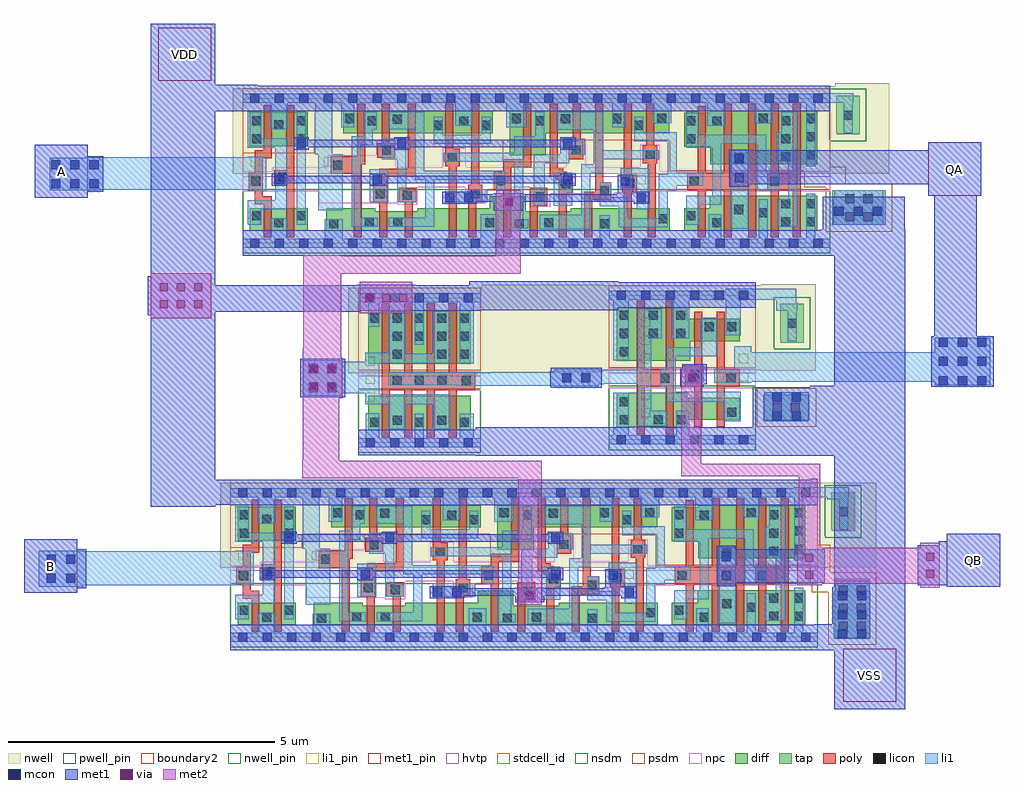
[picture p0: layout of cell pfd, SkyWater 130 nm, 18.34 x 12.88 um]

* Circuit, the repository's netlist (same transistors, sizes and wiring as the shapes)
* NGSPICE file created from pfd.ext - technology: sky130A

.subckt sky130_fd_sc_hd__dfrbp_2 CLK D RESET_B VGND VNB VPB VPWR Q Q_N
X0 a_1217_47# a_27_47# a_1108_47# VNB sky130_fd_pr__nfet_01v8 ad=0.0669 pd=0.75 as=0.0711 ps=0.755 w=0.36 l=0.15
X1 a_805_47# a_761_289# a_639_47# VNB sky130_fd_pr__nfet_01v8 ad=0.0441 pd=0.63 as=0.1401 ps=1.1 w=0.42 l=0.15
X2 a_1108_47# a_193_47# a_761_289# VNB sky130_fd_pr__nfet_01v8 ad=0.0711 pd=0.755 as=0.0999 ps=0.985 w=0.36 l=0.15
X3 a_1283_21# a_1108_47# a_1462_47# VNB sky130_fd_pr__nfet_01v8 ad=0.1092 pd=1.36 as=0.06405 ps=0.725 w=0.42 l=0.15
X4 Q_N a_1659_47# VGND VNB sky130_fd_pr__nfet_01v8 ad=0.08775 pd=0.92 as=0.08775 ps=0.92 w=0.65 l=0.15
X5 a_651_413# a_27_47# a_543_47# VPB sky130_fd_pr__pfet_01v8_hvt ad=0.1155 pd=0.97 as=0.07245 ps=0.765 w=0.42 l=0.15
X6 VGND RESET_B a_805_47# VNB sky130_fd_pr__nfet_01v8 ad=0.1346 pd=1.15 as=0.0441 ps=0.63 w=0.42 l=0.15
X7 VPWR a_1283_21# Q VPB sky130_fd_pr__pfet_01v8_hvt ad=0.135 pd=1.27 as=0.155 ps=1.31 w=1 l=0.15
X8 VPWR CLK a_27_47# VPB sky130_fd_pr__pfet_01v8_hvt ad=0.0864 pd=0.91 as=0.1664 ps=1.8 w=0.64 l=0.15
X9 a_448_47# D VPWR VPB sky130_fd_pr__pfet_01v8_hvt ad=0.0651 pd=0.73 as=0.1092 ps=1.36 w=0.42 l=0.15
X10 VPWR a_1283_21# a_1659_47# VPB sky130_fd_pr__pfet_01v8_hvt ad=0.1522 pd=1.335 as=0.1664 ps=1.8 w=0.64 l=0.15
X11 a_761_289# a_543_47# VGND VNB sky130_fd_pr__nfet_01v8 ad=0.0999 pd=0.985 as=0.1346 ps=1.15 w=0.64 l=0.15
X12 VGND a_1283_21# a_1659_47# VNB sky130_fd_pr__nfet_01v8 ad=0.10025 pd=0.985 as=0.1092 ps=1.36 w=0.42 l=0.15
X13 a_193_47# a_27_47# VGND VNB sky130_fd_pr__nfet_01v8 ad=0.1092 pd=1.36 as=0.0567 ps=0.69 w=0.42 l=0.15
X14 a_1108_47# a_27_47# a_761_289# VPB sky130_fd_pr__pfet_01v8_hvt ad=0.0588 pd=0.7 as=0.12915 ps=1.185 w=0.42 l=0.15
X15 VPWR a_1659_47# Q_N VPB sky130_fd_pr__pfet_01v8_hvt ad=0.31 pd=2.62 as=0.135 ps=1.27 w=1 l=0.15
X16 a_543_47# a_27_47# a_448_47# VNB sky130_fd_pr__nfet_01v8 ad=0.0594 pd=0.69 as=0.066 ps=0.745 w=0.36 l=0.15
X17 a_1462_47# RESET_B VGND VNB sky130_fd_pr__nfet_01v8 ad=0.06405 pd=0.725 as=0.12495 ps=1.015 w=0.42 l=0.15
X18 VGND a_1659_47# Q_N VNB sky130_fd_pr__nfet_01v8 ad=0.2015 pd=1.92 as=0.08775 ps=0.92 w=0.65 l=0.15
X19 a_543_47# a_193_47# a_448_47# VPB sky130_fd_pr__pfet_01v8_hvt ad=0.07245 pd=0.765 as=0.0651 ps=0.73 w=0.42 l=0.15
X20 a_448_47# D VGND VNB sky130_fd_pr__nfet_01v8 ad=0.066 pd=0.745 as=0.2205 ps=1.89 w=0.42 l=0.15
X21 VPWR a_1283_21# a_1270_413# VPB sky130_fd_pr__pfet_01v8_hvt ad=0.0819 pd=0.81 as=0.0567 ps=0.69 w=0.42 l=0.15
X22 VPWR a_1108_47# a_1283_21# VPB sky130_fd_pr__pfet_01v8_hvt ad=0.1197 pd=1.41 as=0.0567 ps=0.69 w=0.42 l=0.15
X23 a_1270_413# a_193_47# a_1108_47# VPB sky130_fd_pr__pfet_01v8_hvt ad=0.0567 pd=0.69 as=0.0588 ps=0.7 w=0.42 l=0.15
X24 a_193_47# a_27_47# VPWR VPB sky130_fd_pr__pfet_01v8_hvt ad=0.1664 pd=1.8 as=0.0864 ps=0.91 w=0.64 l=0.15
X25 a_1283_21# RESET_B VPWR VPB sky130_fd_pr__pfet_01v8_hvt ad=0.0567 pd=0.69 as=0.0819 ps=0.81 w=0.42 l=0.15
X26 Q a_1283_21# VGND VNB sky130_fd_pr__nfet_01v8 ad=0.10075 pd=0.96 as=0.10025 ps=0.985 w=0.65 l=0.15
X27 VPWR a_761_289# a_651_413# VPB sky130_fd_pr__pfet_01v8_hvt ad=0.07035 pd=0.755 as=0.1155 ps=0.97 w=0.42 l=0.15
X28 VGND a_1283_21# Q VNB sky130_fd_pr__nfet_01v8 ad=0.08775 pd=0.92 as=0.10075 ps=0.96 w=0.65 l=0.15
X29 Q_N a_1659_47# VPWR VPB sky130_fd_pr__pfet_01v8_hvt ad=0.135 pd=1.27 as=0.135 ps=1.27 w=1 l=0.15
X30 Q a_1283_21# VPWR VPB sky130_fd_pr__pfet_01v8_hvt ad=0.155 pd=1.31 as=0.1522 ps=1.335 w=1 l=0.15
X31 a_639_47# a_193_47# a_543_47# VNB sky130_fd_pr__nfet_01v8 ad=0.1401 pd=1.1 as=0.0594 ps=0.69 w=0.36 l=0.15
X32 VGND a_1283_21# a_1217_47# VNB sky130_fd_pr__nfet_01v8 ad=0.12495 pd=1.015 as=0.0669 ps=0.75 w=0.42 l=0.15
X33 a_651_413# RESET_B VPWR VPB sky130_fd_pr__pfet_01v8_hvt ad=0.1092 pd=1.36 as=0.07035 ps=0.755 w=0.42 l=0.15
X34 VGND CLK a_27_47# VNB sky130_fd_pr__nfet_01v8 ad=0.0567 pd=0.69 as=0.1092 ps=1.36 w=0.42 l=0.15
X35 a_761_289# a_543_47# VPWR VPB sky130_fd_pr__pfet_01v8_hvt ad=0.12915 pd=1.185 as=0.2184 ps=2.2 w=0.84 l=0.15
.ends

.subckt sky130_fd_sc_hd__and2_2 A B VGND VNB VPB VPWR X
X0 X a_61_75# VPWR VPB sky130_fd_pr__pfet_01v8_hvt ad=0.195 pd=1.39 as=0.16655 ps=1.39 w=1 l=0.15
X1 VPWR a_61_75# X VPB sky130_fd_pr__pfet_01v8_hvt ad=0.38 pd=2.76 as=0.195 ps=1.39 w=1 l=0.15
X2 VPWR B a_61_75# VPB sky130_fd_pr__pfet_01v8_hvt ad=0.16655 pd=1.39 as=0.0567 ps=0.69 w=0.42 l=0.15
X3 VGND B a_147_75# VNB sky130_fd_pr__nfet_01v8 ad=0.1118 pd=1.04 as=0.0567 ps=0.69 w=0.42 l=0.15
X4 X a_61_75# VGND VNB sky130_fd_pr__nfet_01v8 ad=0.12675 pd=1.04 as=0.1118 ps=1.04 w=0.65 l=0.15
X5 VGND a_61_75# X VNB sky130_fd_pr__nfet_01v8 ad=0.247 pd=2.06 as=0.12675 ps=1.04 w=0.65 l=0.15
X6 a_61_75# A VPWR VPB sky130_fd_pr__pfet_01v8_hvt ad=0.0567 pd=0.69 as=0.1176 ps=1.4 w=0.42 l=0.15
X7 a_147_75# A a_61_75# VNB sky130_fd_pr__nfet_01v8 ad=0.0567 pd=0.69 as=0.1176 ps=1.4 w=0.42 l=0.15
.ends

.subckt sky130_fd_sc_hd__inv_4 A VGND VNB VPB VPWR Y
X0 VPWR A Y VPB sky130_fd_pr__pfet_01v8_hvt ad=0.26 pd=2.52 as=0.135 ps=1.27 w=1 l=0.15
X1 Y A VPWR VPB sky130_fd_pr__pfet_01v8_hvt ad=0.135 pd=1.27 as=0.135 ps=1.27 w=1 l=0.15
X2 Y A VGND VNB sky130_fd_pr__nfet_01v8 ad=0.08775 pd=0.92 as=0.169 ps=1.82 w=0.65 l=0.15
X3 VPWR A Y VPB sky130_fd_pr__pfet_01v8_hvt ad=0.135 pd=1.27 as=0.135 ps=1.27 w=1 l=0.15
X4 VGND A Y VNB sky130_fd_pr__nfet_01v8 ad=0.08775 pd=0.92 as=0.08775 ps=0.92 w=0.65 l=0.15
X5 Y A VPWR VPB sky130_fd_pr__pfet_01v8_hvt ad=0.135 pd=1.27 as=0.26 ps=2.52 w=1 l=0.15
X6 VGND A Y VNB sky130_fd_pr__nfet_01v8 ad=0.169 pd=1.82 as=0.08775 ps=0.92 w=0.65 l=0.15
X7 Y A VGND VNB sky130_fd_pr__nfet_01v8 ad=0.08775 pd=0.92 as=0.08775 ps=0.92 w=0.65 l=0.15
.ends

.subckt pfd VSS VDD A QA QB B
Xx1 A VDD x4/Y VSS VSS VDD VDD QA x1/Q_N sky130_fd_sc_hd__dfrbp_2
Xx2 QA QB VSS VSS VDD VDD x4/A sky130_fd_sc_hd__and2_2
Xx3 B VDD x4/Y VSS VSS VDD VDD QB x3/Q_N sky130_fd_sc_hd__dfrbp_2
Xx4 x4/A VSS VSS VDD VDD x4/Y sky130_fd_sc_hd__inv_4
.ends

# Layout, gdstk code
from math import pi, radians
import gdstk
lib = gdstk.Library(unit=1e-6, precision=1e-09)
def R(c, l, rs):  # rectangles x0, y0, x1, y1
    for r in rs: c.add(gdstk.rectangle(r[:2], r[2:], *l))
def A(c, l, x, y, w, h, nx, ny, dx, dy):  # array of equal rectangles
    R(c, l, [(x+i*dx, y+j*dy, x+i*dx+w, y+j*dy+h) for i in range(nx) for j in range(ny)])
def P(c, l, *ps):  # polygons
    for p in ps: c.add(gdstk.Polygon(p, *l))
nwell_pin = (64, 16)
nwell = (64, 20)
diff = (65, 20)
tap = (65, 44)
poly = (66, 20)
licon = (66, 44)
li1_pin = (67, 16)
li1 = (67, 20)
mcon = (67, 44)
met1_pin = (68, 16)
met1 = (68, 20)
via = (68, 44)
met2 = (69, 20)
hvtp = (78, 44)
stdcell_id = (81, 4)
nsdm = (93, 44)
psdm = (94, 20)
npc = (95, 20)
pwell_pin = (122, 16)
boundary2 = (236, 0)

sky130_fd_sc_hd__inv_4 = lib.new_cell('sky130_fd_sc_hd__inv_4')
R(sky130_fd_sc_hd__inv_4, nwell_pin, [(0.145,2.635,0.315,2.805)])
R(sky130_fd_sc_hd__inv_4, nwell, [(-0.19,1.305,2.49,2.91)])
R(sky130_fd_sc_hd__inv_4, diff, [(0.185,0.235,2.115,0.885), (0.185,1.485,2.115,2.485)])
P(sky130_fd_sc_hd__inv_4, poly, [(1.855,2.615),(1.705,2.615),(1.705,1.325),(1.435,1.325),(1.435,2.615),(1.285,2.615),(1.285,1.325),(1.015,1.325),(1.015,2.615),(0.865,2.615),(0.865,1.325),(0.595,1.325),(0.595,2.615),(0.445,2.615),(0.445,1.325),(0.105,1.325),(0.105,0.995),(0.445,0.995),(0.445,0.105),(0.595,0.105),(0.595,0.995),(0.865,0.995),(0.865,0.105),(1.015,0.105),(1.015,0.995),(1.285,0.995),(1.285,0.105),(1.435,0.105),(1.435,0.995),(1.705,0.995),(1.705,0.105),(1.855,0.105)])
A(sky130_fd_sc_hd__inv_4, licon, 0.645, 1.075, 0.17, 0.17, 3, 1, 0.42, 0)
A(sky130_fd_sc_hd__inv_4, licon, 0.225, 1.915, 0.17, 0.17, 4, 1, 0.42, 0)
A(sky130_fd_sc_hd__inv_4, licon, 0.225, 2.255, 0.17, 0.17, 5, 1, 0.42, 0)
R(sky130_fd_sc_hd__inv_4, licon, [(0.225,0.295,0.395,0.465), (1.065,0.295,1.235,0.465), (1.905,0.3,2.075,0.47), (0.645,0.335,0.815,0.505), (1.485,0.335,1.655,0.505), (0.185,1.075,0.355,1.245), (0.225,1.575,0.395,1.745), (0.645,1.575,0.815,1.745), (1.485,1.575,1.655,1.745)])
A(sky130_fd_sc_hd__inv_4, li1_pin, 0.145, 1.105, 0.17, 0.17, 5, 1, 0.46, 0)
R(sky130_fd_sc_hd__inv_4, li1_pin, [(1.985,0.765,2.155,0.935), (1.985,1.445,2.155,1.615)])
R(sky130_fd_sc_hd__inv_4, li1, [(0.105,1.075,1.735,1.325)])
P(sky130_fd_sc_hd__inv_4, li1, [(2.3,0.085),(2.155,0.085),(2.155,0.55),(1.905,0.55),(1.905,0.085),(1.235,0.085),(1.235,0.545),(1.065,0.545),(1.065,0.085),(0.395,0.085),(0.395,0.545),(0.13,0.545),(0.13,0.085),(0,0.085),(0,-0.085),(2.3,-0.085)],
  [(2.3,2.805),(0,2.805),(0,2.635),(0.13,2.635),(0.13,1.495),(0.395,1.495),(0.395,2.635),(1.065,2.635),(1.065,1.835),(1.235,1.835),(1.235,2.635),(1.905,2.635),(1.905,2.175),(2.115,2.175),(2.115,2.635),(2.3,2.635)],
  [(2.17,1.685),(1.735,1.685),(1.735,2.465),(1.405,2.465),(1.405,1.665),(0.895,1.665),(0.895,2.465),(0.565,2.465),(0.565,1.495),(1.905,1.495),(1.905,0.905),(0.565,0.905),(0.565,0.255),(0.895,0.255),(0.895,0.725),(1.405,0.725),(1.405,0.255),(1.735,0.255),(1.735,0.725),(2.17,0.725)])
A(sky130_fd_sc_hd__inv_4, mcon, 0.145, -0.085, 0.17, 0.17, 5, 2, 0.46, 2.72)
R(sky130_fd_sc_hd__inv_4, met1_pin, [(0.145,-0.085,0.315,0.085), (0.145,2.635,0.315,2.805)])
R(sky130_fd_sc_hd__inv_4, hvtp, [(0,1.25,2.3,2.72)])
R(sky130_fd_sc_hd__inv_4, stdcell_id, [(0,0,2.3,2.72)])
R(sky130_fd_sc_hd__inv_4, nsdm, [(0,-0.19,2.3,1.015)])
R(sky130_fd_sc_hd__inv_4, psdm, [(0,1.355,2.3,2.91)])
R(sky130_fd_sc_hd__inv_4, npc, [(0,0.975,2.3,1.345)])
R(sky130_fd_sc_hd__inv_4, pwell_pin, [(0.145,-0.085,0.315,0.085)])
R(sky130_fd_sc_hd__inv_4, boundary2, [(0,0,2.3,2.72)])
sky130_fd_sc_hd__inv_4.add(gdstk.FlexPath([(0,2.72),(2.3,2.72)], 0.48, ends="flush", simple_path=True, layer=68, datatype=20))  # met1
sky130_fd_sc_hd__inv_4.add(gdstk.FlexPath([(0,0),(2.3,0)], 0.48, ends="flush", simple_path=True, layer=68, datatype=20))  # met1
sky130_fd_sc_hd__inv_4.add(gdstk.Label('Y', (2.07,0.85), layer=67, texttype=5))
sky130_fd_sc_hd__inv_4.add(gdstk.Label('Y', (2.07,1.19), layer=67, texttype=5))
sky130_fd_sc_hd__inv_4.add(gdstk.Label('Y', (2.07,1.53), layer=67, texttype=5))
sky130_fd_sc_hd__inv_4.add(gdstk.Label('A', (0.23,1.19), layer=67, texttype=5))
sky130_fd_sc_hd__inv_4.add(gdstk.Label('A', (0.69,1.19), layer=67, texttype=5))
sky130_fd_sc_hd__inv_4.add(gdstk.Label('A', (1.15,1.19), layer=67, texttype=5))
sky130_fd_sc_hd__inv_4.add(gdstk.Label('A', (1.61,1.19), layer=67, texttype=5))
sky130_fd_sc_hd__inv_4.add(gdstk.Label('VPB', (0.23,2.72), layer=64, texttype=5))
sky130_fd_sc_hd__inv_4.add(gdstk.Label('VNB', (0.23,0), layer=64, texttype=59))
sky130_fd_sc_hd__inv_4.add(gdstk.Label('VPWR', (0.23,2.72), layer=68, texttype=5))
sky130_fd_sc_hd__inv_4.add(gdstk.Label('VGND', (0.23,0), layer=68, texttype=5))
sky130_fd_sc_hd__inv_4.add(gdstk.Label('inv_4', (0,0), layer=83, texttype=44))

sky130_fd_sc_hd__dfrbp_2 = lib.new_cell('sky130_fd_sc_hd__dfrbp_2')
R(sky130_fd_sc_hd__dfrbp_2, nwell_pin, [(0.145,2.635,0.315,2.805)])
R(sky130_fd_sc_hd__dfrbp_2, nwell, [(-0.19,1.305,11.23,2.91)])
R(sky130_fd_sc_hd__dfrbp_2, diff, [(0.135,0.235,1.225,0.655), (0.135,1.815,1.225,2.455), (3.305,2.065,4.7,2.485)])
P(sky130_fd_sc_hd__dfrbp_2, diff, [(8.015,2.485),(5.015,2.485),(5.015,1.645),(5.695,1.645),(5.695,2.065),(8.015,2.065)],
  [(10.8,0.885),(8.78,0.885),(8.78,0.655),(8.295,0.655),(8.295,0.235),(10.8,0.235)],
  [(8.025,0.655),(6.165,0.655),(6.165,0.595),(5.315,0.595),(5.315,0.875),(4.645,0.875),(4.645,0.655),(3.285,0.655),(3.285,0.595),(2.49,0.595),(2.49,0.655),(1.565,0.655),(1.565,0.235),(8.025,0.235)],
  [(3.335,2.485),(1.89,2.485),(1.89,2.065),(3.33,2.065),(3.33,2.48),(3.335,2.48)],
  [(10.8,2.485),(8.79,2.485),(8.79,2.445),(8.295,2.445),(8.295,1.805),(8.79,1.805),(8.79,1.485),(10.8,1.485)])
R(sky130_fd_sc_hd__dfrbp_2, poly, [(3.875,0.105,4.025,1.515), (4.29,1.055,4.44,2.615), (3.805,1.445,4.08,1.775), (3.805,1.76,3.955,2.615)])
P(sky130_fd_sc_hd__dfrbp_2, poly, [(7.79,1.825),(7.73,1.825),(7.73,2.615),(7.58,2.615),(7.58,1.825),(7.52,1.825),(7.52,1.495),(7.615,1.495),(7.615,0.105),(7.765,0.105),(7.765,1.495),(7.79,1.495)],
  [(10.49,2.615),(10.34,2.615),(10.34,1.325),(10.07,1.325),(10.07,2.615),(9.92,2.615),(9.92,1.325),(9.86,1.325),(9.86,0.995),(9.92,0.995),(9.92,0.105),(10.07,0.105),(10.07,0.995),(10.34,0.995),(10.34,0.105),(10.49,0.105)],
  [(0.545,0.88),(0.38,0.88),(0.38,1.59),(0.545,1.59),(0.545,2.585),(0.395,2.585),(0.395,1.74),(0.23,1.74),(0.23,1.325),(0.11,1.325),(0.11,0.995),(0.23,0.995),(0.23,0.73),(0.395,0.73),(0.395,0.105),(0.545,0.105)],
  [(0.965,2.585),(0.815,2.585),(0.815,1.37),(0.59,1.37),(0.59,1.1),(0.815,1.1),(0.815,0.105),(0.965,0.105)],
  [(2.3,2.615),(2.15,2.615),(2.15,1.63),(1.655,1.63),(1.655,1.3),(2.09,1.3),(2.09,0.105),(2.24,0.105),(2.24,1.48),(2.3,1.48)],
  [(3.255,2.615),(3.105,2.615),(3.105,1.395),(2.565,1.395),(2.565,1.095),(2.45,1.095),(2.45,0.765),(2.565,0.765),(2.565,0.105),(2.715,0.105),(2.715,0.765),(2.72,0.765),(2.72,1.245),(3.255,1.245)],
  [(2.86,1.875),(2.76,1.875),(2.76,2.615),(2.61,2.615),(2.61,1.875),(2.53,1.875),(2.53,1.605),(2.86,1.605)],
  [(3.26,1.035),(2.93,1.035),(2.93,0.765),(3.045,0.765),(3.045,0.105),(3.195,0.105),(3.195,0.765),(3.26,0.765)],
  [(4.505,1.095),(4.235,1.095),(4.235,0.105),(4.385,0.105),(4.385,0.765),(4.505,0.765)],
  [(5.425,2.615),(5.275,2.615),(5.275,1.57),(4.895,1.57),(4.895,1.335),(4.715,1.335),(4.715,1.005),(4.895,1.005),(4.895,0.105),(5.045,0.105),(5.045,1.42),(5.425,1.42)],
  [(5.725,1.035),(5.39,1.035),(5.39,0.105),(5.54,0.105),(5.54,0.705),(5.725,0.705)],
  [(6.205,1.275),(6.085,1.275),(6.085,1.335),(6.02,1.335),(6.02,1.395),(5.92,1.395),(5.92,2.615),(5.77,2.615),(5.77,1.245),(5.875,1.245),(5.875,1.185),(5.935,1.185),(5.935,0.105),(6.085,0.105),(6.085,0.945),(6.205,0.945)],
  [(6.4,1.905),(6.35,1.905),(6.35,2.615),(6.2,2.615),(6.2,1.905),(6.13,1.905),(6.13,1.575),(6.4,1.575)],
  [(6.925,1.145),(6.77,1.145),(6.77,2.615),(6.62,2.615),(6.62,0.965),(6.415,0.965),(6.415,0.105),(6.565,0.105),(6.565,0.815),(6.925,0.815)],
  [(7.405,1.285),(7.31,1.285),(7.31,2.615),(7.16,2.615),(7.16,1.285),(7.135,1.285),(7.135,0.955),(7.16,0.955),(7.16,0.105),(7.31,0.105),(7.31,0.955),(7.405,0.955)],
  [(9.65,2.615),(9.5,2.615),(9.5,1.325),(9.19,1.325),(9.19,2.615),(9.04,2.615),(9.04,1.325),(8.705,1.325),(8.705,2.575),(8.555,2.575),(8.555,1.325),(8.35,1.325),(8.35,0.995),(8.555,0.995),(8.555,0.105),(8.705,0.105),(8.705,0.995),(9.04,0.995),(9.04,0.105),(9.19,0.105),(9.19,0.995),(9.5,0.995),(9.5,0.105),(9.65,0.105)])
A(sky130_fd_sc_hd__dfrbp_2, licon, 10.12, 1.535, 0.17, 0.17, 1, 3, 0, 0.34)
A(sky130_fd_sc_hd__dfrbp_2, licon, 10.59, 1.575, 0.17, 0.17, 1, 3, 0, 0.34)
R(sky130_fd_sc_hd__dfrbp_2, licon, [(1.625,0.275,1.795,0.445), (5.115,0.275,5.285,0.445), (6.725,0.275,6.895,0.445), (0.595,0.295,0.765,0.465), (4.555,0.295,4.725,0.465), (5.665,0.295,5.835,0.465), (8.82,0.295,8.99,0.465), (2.29,0.305,2.46,0.475), (2.825,0.305,2.995,0.475), (10.12,0.315,10.29,0.485), (10.59,0.315,10.76,0.485), (7.815,0.375,7.985,0.545), (0.175,0.425,0.345,0.595), (1.015,0.425,1.185,0.595), (8.335,0.425,8.505,0.595), (9.7,0.48,9.87,0.65), (9.24,0.545,9.41,0.715), (10.12,0.655,10.29,0.825), (10.59,0.655,10.76,0.825), (5.505,0.785,5.675,0.955), (3.01,0.815,3.18,0.985), (2.5,0.845,2.67,1.015), (4.285,0.845,4.455,1.015), (6.705,0.895,6.875,1.065), (5.985,1.025,6.155,1.195), (7.185,1.035,7.355,1.205), (0.16,1.075,0.33,1.245), (8.4,1.075,8.57,1.245), (9.91,1.075,10.08,1.245), (4.765,1.085,4.935,1.255), (0.67,1.15,0.84,1.32), (1.705,1.38,1.875,1.55), (3.855,1.525,4.025,1.695), (9.24,1.525,9.41,1.695), (7.57,1.575,7.74,1.745), (2.61,1.655,2.78,1.825), (6.18,1.655,6.35,1.825), (0.175,1.875,0.345,2.045), (1.015,1.875,1.185,2.045), (8.335,1.875,8.505,2.045), (3.585,2.125,3.755,2.295), (4.49,2.125,4.66,2.295), (7.36,2.125,7.53,2.295), (0.595,2.135,0.765,2.305), (4.07,2.205,4.24,2.375), (8.82,2.205,8.99,2.375), (0.175,2.215,0.345,2.385), (1.015,2.215,1.185,2.385), (2.35,2.215,2.52,2.385), (5.495,2.215,5.665,2.385), (8.335,2.215,8.505,2.385), (2.815,2.245,2.985,2.415), (5.98,2.25,6.15,2.42), (1.93,2.255,2.1,2.425), (5.055,2.255,5.225,2.425), (6.94,2.255,7.11,2.425), (7.79,2.255,7.96,2.425), (9.7,2.255,9.87,2.425)])
R(sky130_fd_sc_hd__dfrbp_2, li1_pin, [(7.405,0.765,7.575,0.935), (9.255,1.065,9.415,1.245), (0.15,1.105,0.32,1.275), (7.405,1.105,7.575,1.275), (10.275,1.11,10.39,1.285), (0.15,1.445,0.32,1.615), (1.525,1.445,1.695,1.615)])
R(sky130_fd_sc_hd__dfrbp_2, li1, [(0,-0.085,9.2,0.085), (1.545,-0.03,1.875,0.445), (8.755,0.02,8.99,0.545), (10.59,0.025,10.76,0.93), (9.7,0.035,9.87,0.825), (4.475,0.055,4.805,0.545), (0.515,0.06,0.845,0.465), (6.705,0.065,6.895,0.525), (9.16,0.265,9.495,1.695), (1.015,0.345,1.185,2.465), (1.415,0.615,1.875,1.665), (5.845,0.705,6.195,1.325), (2.385,0.765,2.735,1.385), (3.805,0.765,4.595,1.015), (0.09,0.975,0.44,1.625), (8.145,1.075,8.65,1.325), (10.59,1.445,10.76,2.715), (3.775,1.525,5.13,1.695), (1.355,1.665,1.68,2.45), (0.515,2.135,0.845,2.665), (4.955,2.175,5.325,2.675), (6.94,2.175,7.19,2.69), (3.99,2.205,4.32,2.69), (8.73,2.205,9.07,2.675), (7.71,2.255,8.055,2.7), (9.62,2.255,9.95,2.675)])
P(sky130_fd_sc_hd__dfrbp_2, li1, [(0.84,1.965),(0.345,1.965),(0.345,2.465),(0.09,2.465),(0.09,1.795),(0.61,1.795),(0.61,0.805),(0.09,0.805),(0.09,0.345),(0.345,0.345),(0.345,0.635),(0.84,0.635)],
  [(2.54,0.475),(2.215,0.475),(2.215,1.835),(2.44,1.835),(2.44,2.135),(2.52,2.135),(2.52,2.465),(2.27,2.465),(2.27,2.005),(2.045,2.005),(2.045,0.305),(2.54,0.305)],
  [(3.26,0.985),(3.075,0.985),(3.075,1.965),(2.61,1.965),(2.61,1.575),(2.905,1.575),(2.905,0.765),(3.26,0.765)],
  [(4.935,1.355),(3.415,1.355),(3.415,2.465),(2.735,2.465),(2.735,2.135),(3.245,2.135),(3.245,1.185),(3.43,1.185),(3.43,0.475),(2.745,0.475),(2.745,0.305),(3.6,0.305),(3.6,1.185),(4.765,1.185),(4.765,1.005),(4.935,1.005)],
  [(5.665,2.465),(5.495,2.465),(5.495,2.005),(5.105,2.005),(5.105,0.835),(5.015,0.835),(5.015,0.275),(5.365,0.275),(5.365,0.445),(5.275,0.445),(5.275,1.835),(5.665,1.835)],
  [(6.43,1.955),(5.97,1.955),(5.97,1.665),(5.465,1.665),(5.465,0.705),(5.675,0.705),(5.675,1.495),(6.14,1.495),(6.14,1.655),(6.43,1.655)],
  [(7.645,1.405),(7.105,1.405),(7.105,1.035),(7.405,1.035),(7.405,0.635),(7.645,0.635)],
  [(7.82,1.745),(6.77,1.745),(6.77,2.465),(5.9,2.465),(5.9,2.125),(6.6,2.125),(6.6,1.485),(6.365,1.485),(6.365,0.535),(5.585,0.535),(5.585,0.255),(6.535,0.255),(6.535,1.315),(6.77,1.315),(6.77,1.575),(7.82,1.575)],
  [(9.2,2.805),(0,2.805),(0,2.635),(1.85,2.635),(1.85,2.175),(2.1,2.175),(2.1,2.635),(9.2,2.635)],
  [(8.16,2.085),(7.53,2.085),(7.53,2.375),(7.36,2.375),(7.36,1.915),(7.99,1.915),(7.99,1.295),(7.815,1.295),(7.815,0.465),(7.235,0.465),(7.235,0.865),(6.925,0.865),(6.925,1.145),(6.705,1.145),(6.705,0.695),(7.065,0.695),(7.065,0.295),(7.985,0.295),(7.985,0.995),(8.16,0.995)],
  [(10.42,2.465),(10.12,2.465),(10.12,2.08),(10.03,2.08),(10.03,1.535),(10.25,1.535),(10.25,0.825),(10.04,0.825),(10.04,0.31),(10.42,0.31)],
  [(10.08,1.325),(9.835,1.325),(9.835,2.035),(8.56,2.035),(8.56,2.465),(8.335,2.465),(8.335,1.795),(8.82,1.795),(8.82,0.885),(8.335,0.885),(8.335,0.345),(8.585,0.345),(8.585,0.715),(8.99,0.715),(8.99,1.865),(9.665,1.865),(9.665,0.995),(10.08,0.995)],
  [(4.66,2.375),(4.49,2.375),(4.49,2.035),(3.755,2.035),(3.755,2.375),(3.585,2.375),(3.585,1.865),(4.66,1.865)])
A(sky130_fd_sc_hd__dfrbp_2, mcon, 0.145, -0.085, 0.17, 0.17, 24, 2, 0.46, 2.72)
R(sky130_fd_sc_hd__dfrbp_2, mcon, [(3.805,0.765,3.975,0.935), (4.165,0.765,4.335,0.935), (7.405,0.765,7.575,0.935), (7.105,1.08,7.275,1.25), (0.61,1.105,0.78,1.275), (2.445,1.105,2.615,1.275), (6.025,1.105,6.195,1.275), (1.015,1.785,1.185,1.955), (2.905,1.785,3.075,1.955), (6.025,1.785,6.195,1.955)])
R(sky130_fd_sc_hd__dfrbp_2, met1_pin, [(0.145,-0.085,0.315,0.085), (0.145,2.635,0.315,2.805)])
R(sky130_fd_sc_hd__dfrbp_2, met1, [(7.045,0.91,7.335,1.28), (0.55,1.075,0.84,1.305), (5.965,1.075,6.255,1.305), (0.955,1.755,1.245,1.985), (5.965,1.755,6.255,1.985)])
P(sky130_fd_sc_hd__dfrbp_2, met1, [(7.635,0.965),(7.335,0.965),(7.335,0.92),(4.395,0.92),(4.395,0.965),(3.745,0.965),(3.745,0.735),(4.395,0.735),(4.395,0.78),(7.345,0.78),(7.345,0.735),(7.635,0.735)],
  [(6.075,1.94),(3.135,1.94),(3.135,1.985),(2.845,1.985),(2.845,1.94),(1.185,1.94),(1.185,1.8),(2.845,1.8),(2.845,1.755),(3.135,1.755),(3.135,1.8),(6.075,1.8)],
  [(6.045,1.26),(2.675,1.26),(2.675,1.305),(2.385,1.305),(2.385,1.26),(0.82,1.26),(0.82,1.12),(2.385,1.12),(2.385,1.075),(2.675,1.075),(2.675,1.12),(6.045,1.12)])
A(sky130_fd_sc_hd__dfrbp_2, hvtp, 9.2, 1.25, 0.46, 1.47, 4, 1, 0.46, 0)
R(sky130_fd_sc_hd__dfrbp_2, hvtp, [(0,1.25,9.2,2.72)])
R(sky130_fd_sc_hd__dfrbp_2, stdcell_id, [(0,0,11.04,2.72)])
R(sky130_fd_sc_hd__dfrbp_2, nsdm, [(0,-0.19,11.04,1.015)])
P(sky130_fd_sc_hd__dfrbp_2, psdm, [(11.04,2.91),(0,2.91),(0,1.685),(1.35,1.685),(1.35,1.935),(4.885,1.935),(4.885,1.515),(5.825,1.515),(5.825,1.935),(8.02,1.935),(8.02,1.355),(11.04,1.355)])
R(sky130_fd_sc_hd__dfrbp_2, npc, [(3.755,1.365,4.195,1.795)])
P(sky130_fd_sc_hd__dfrbp_2, npc, [(11.04,1.345),(7.84,1.345),(7.84,1.845),(7.47,1.845),(7.47,1.42),(6.45,1.42),(6.45,1.925),(6.08,1.925),(6.08,1.42),(2.88,1.42),(2.88,1.925),(2.51,1.925),(2.51,1.65),(1.6,1.65),(1.6,1.42),(0.565,1.42),(0.565,1.345),(0,1.345),(0,0.975),(1.425,0.975),(1.425,0.745),(2.91,0.745),(2.91,0.715),(3.28,0.715),(3.28,1.05),(4.185,1.05),(4.185,0.745),(4.555,0.745),(4.555,0.985),(5.055,0.985),(5.055,1.05),(5.405,1.05),(5.405,0.685),(5.775,0.685),(5.775,0.925),(6.605,0.925),(6.605,0.795),(6.975,0.795),(6.975,0.935),(7.455,0.935),(7.455,0.975),(11.04,0.975)])
R(sky130_fd_sc_hd__dfrbp_2, pwell_pin, [(0.145,-0.085,0.315,0.085)])
R(sky130_fd_sc_hd__dfrbp_2, boundary2, [(0,0,11.04,2.72)])
sky130_fd_sc_hd__dfrbp_2.add(gdstk.FlexPath([(0,0),(9.2,0)], 0.48, ends="flush", simple_path=True, layer=68, datatype=20))  # met1
sky130_fd_sc_hd__dfrbp_2.add(gdstk.FlexPath([(0,2.72),(9.2,2.72)], 0.48, ends="flush", simple_path=True, layer=68, datatype=20))  # met1
sky130_fd_sc_hd__dfrbp_2.add(gdstk.FlexPath([(10.12,0),(10.58,0)], 0.48, ends="flush", simple_path=True, layer=68, datatype=20))  # met1
sky130_fd_sc_hd__dfrbp_2.add(gdstk.FlexPath([(10.12,2.72),(10.58,2.72)], 0.48, ends="flush", simple_path=True, layer=68, datatype=20))  # met1
sky130_fd_sc_hd__dfrbp_2.add(gdstk.FlexPath([(10.58,2.72),(11.04,2.72)], 0.48, ends="flush", simple_path=True, layer=68, datatype=20))  # met1
sky130_fd_sc_hd__dfrbp_2.add(gdstk.FlexPath([(10.58,0),(11.04,0)], 0.48, ends="flush", simple_path=True, layer=68, datatype=20))  # met1
sky130_fd_sc_hd__dfrbp_2.add(gdstk.FlexPath([(9.2,0),(9.66,0)], 0.48, ends="flush", simple_path=True, layer=68, datatype=20))  # met1
sky130_fd_sc_hd__dfrbp_2.add(gdstk.FlexPath([(9.2,2.72),(9.66,2.72)], 0.48, ends="flush", simple_path=True, layer=68, datatype=20))  # met1
sky130_fd_sc_hd__dfrbp_2.add(gdstk.FlexPath([(9.66,0),(10.12,0)], 0.48, ends="flush", simple_path=True, layer=68, datatype=20))  # met1
sky130_fd_sc_hd__dfrbp_2.add(gdstk.FlexPath([(9.66,2.72),(10.12,2.72)], 0.48, ends="flush", simple_path=True, layer=68, datatype=20))  # met1
sky130_fd_sc_hd__dfrbp_2.add(gdstk.FlexPath([(10.12,2.72),(10.58,2.72)], 0.17, ends="flush", simple_path=True, layer=67, datatype=20))  # li1
sky130_fd_sc_hd__dfrbp_2.add(gdstk.FlexPath([(10.12,0),(10.58,0)], 0.17, ends="flush", simple_path=True, layer=67, datatype=20))  # li1
sky130_fd_sc_hd__dfrbp_2.add(gdstk.FlexPath([(10.58,0),(11.04,0)], 0.17, ends="flush", simple_path=True, layer=67, datatype=20))  # li1
sky130_fd_sc_hd__dfrbp_2.add(gdstk.FlexPath([(10.58,2.72),(11.04,2.72)], 0.17, ends="flush", simple_path=True, layer=67, datatype=20))  # li1
sky130_fd_sc_hd__dfrbp_2.add(gdstk.FlexPath([(9.2,2.72),(9.66,2.72)], 0.17, ends="flush", simple_path=True, layer=67, datatype=20))  # li1
sky130_fd_sc_hd__dfrbp_2.add(gdstk.FlexPath([(9.2,0),(9.66,0)], 0.17, ends="flush", simple_path=True, layer=67, datatype=20))  # li1
sky130_fd_sc_hd__dfrbp_2.add(gdstk.FlexPath([(9.66,2.72),(10.12,2.72)], 0.17, ends="flush", simple_path=True, layer=67, datatype=20))  # li1
sky130_fd_sc_hd__dfrbp_2.add(gdstk.FlexPath([(9.66,0),(10.12,0)], 0.17, ends="flush", simple_path=True, layer=67, datatype=20))  # li1
sky130_fd_sc_hd__dfrbp_2.add(gdstk.Label('Q', (9.335,1.155), layer=67, texttype=5))
sky130_fd_sc_hd__dfrbp_2.add(gdstk.Label('Q_N', (10.335,1.2), layer=67, texttype=5))
sky130_fd_sc_hd__dfrbp_2.add(gdstk.Label('RESET_B', (7.49,0.85), layer=67, texttype=5))
sky130_fd_sc_hd__dfrbp_2.add(gdstk.Label('D', (1.61,1.53), layer=67, texttype=5))
sky130_fd_sc_hd__dfrbp_2.add(gdstk.Label('CLK', (0.235,1.53), layer=67, texttype=5))
sky130_fd_sc_hd__dfrbp_2.add(gdstk.Label('CLK', (0.235,1.19), layer=67, texttype=5))
sky130_fd_sc_hd__dfrbp_2.add(gdstk.Label('RESET_B', (7.49,1.19), layer=67, texttype=5))
sky130_fd_sc_hd__dfrbp_2.add(gdstk.Label('VGND', (0.23,0), layer=68, texttype=5))
sky130_fd_sc_hd__dfrbp_2.add(gdstk.Label('VPWR', (0.23,2.72), layer=68, texttype=5))
sky130_fd_sc_hd__dfrbp_2.add(gdstk.Label('VPB', (0.23,2.72), layer=64, texttype=5))
sky130_fd_sc_hd__dfrbp_2.add(gdstk.Label('VNB', (0.23,0), layer=64, texttype=59))
sky130_fd_sc_hd__dfrbp_2.add(gdstk.Label('dfrbp_2', (0,0), layer=83, texttype=44))

sky130_fd_sc_hd__and2_2 = lib.new_cell('sky130_fd_sc_hd__and2_2')
R(sky130_fd_sc_hd__and2_2, nwell_pin, [(0.145,2.635,0.315,2.805)])
R(sky130_fd_sc_hd__and2_2, nwell, [(-0.19,1.305,2.95,2.91)])
P(sky130_fd_sc_hd__and2_2, diff, [(2.615,2.485),(1.285,2.485),(1.285,2.275),(0.305,2.275),(0.305,1.855),(1.235,1.855),(1.235,1.485),(2.615,1.485)],
  [(2.615,0.885),(1.285,0.885),(1.285,0.795),(0.305,0.795),(0.305,0.375),(1.285,0.375),(1.285,0.235),(2.615,0.235)])
P(sky130_fd_sc_hd__and2_2, poly, [(0.735,2.405),(0.585,2.405),(0.585,1.325),(0.3,1.325),(0.3,0.995),(0.585,0.995),(0.585,0.245),(0.735,0.245)],
  [(1.335,1.325),(1.155,1.325),(1.155,2.405),(1.005,2.405),(1.005,0.245),(1.155,0.245),(1.155,0.995),(1.335,0.995)],
  [(2.235,2.615),(2.085,2.615),(2.085,1.325),(1.695,1.325),(1.695,2.615),(1.545,2.615),(1.545,0.105),(1.695,0.105),(1.695,0.995),(2.085,0.995),(2.085,0.105),(2.235,0.105)])
A(sky130_fd_sc_hd__and2_2, licon, 2.385, 1.575, 0.17, 0.17, 1, 3, 0, 0.34)
R(sky130_fd_sc_hd__and2_2, licon, [(1.325,0.295,1.495,0.465), (1.745,0.295,1.915,0.465), (2.385,0.295,2.555,0.465), (0.365,0.435,0.535,0.605), (2.385,0.635,2.555,0.805), (0.38,1.075,0.55,1.245), (1.085,1.075,1.255,1.245), (1.625,1.075,1.795,1.245), (1.325,1.915,1.495,2.085), (1.845,1.915,2.015,2.085), (0.365,2.045,0.535,2.215), (0.785,2.045,0.955,2.215), (1.325,2.255,1.495,2.425), (1.845,2.255,2.015,2.425)])
A(sky130_fd_sc_hd__and2_2, li1_pin, 1.985, 0.425, 0.17, 0.17, 1, 6, 0, 0.34)
A(sky130_fd_sc_hd__and2_2, li1_pin, 0.145, 1.105, 0.17, 0.17, 3, 1, 0.46, 0)
R(sky130_fd_sc_hd__and2_2, li1_pin, [(0.145,1.445,0.315,1.615)])
R(sky130_fd_sc_hd__and2_2, li1, [(1.005,1.075,1.335,1.325)])
P(sky130_fd_sc_hd__and2_2, li1, [(0.085,1.075),(0.085,1.765),(0.4,1.765),(0.4,1.325),(0.775,1.325),(0.775,1.075)],
  [(1.795,1.325),(1.675,1.325),(1.675,1.745),(1.035,1.745),(1.035,2.295),(0.735,2.295),(0.735,1.575),(1.505,1.575),(1.505,0.905),(0.285,0.905),(0.285,0.355),(0.615,0.355),(0.615,0.715),(1.675,0.715),(1.675,0.995),(1.795,0.995)],
  [(2.76,0.085),(2.675,0.085),(2.675,0.885),(2.385,0.885),(2.385,0.085),(1.495,0.085),(1.495,0.545),(1.245,0.545),(1.245,0.085),(0,0.085),(0,-0.085),(2.76,-0.085)],
  [(2.215,2.465),(1.765,2.465),(1.765,1.915),(1.965,1.915),(1.965,0.545),(1.665,0.545),(1.665,0.255),(2.215,0.255)],
  [(2.76,2.805),(0,2.805),(0,2.635),(0.285,2.635),(0.285,1.965),(0.565,1.965),(0.565,2.635),(1.245,2.635),(1.245,1.915),(1.575,1.915),(1.575,2.635),(2.385,2.635),(2.385,1.495),(2.675,1.495),(2.675,2.635),(2.76,2.635)])
A(sky130_fd_sc_hd__and2_2, mcon, 0.145, -0.085, 0.17, 0.17, 6, 2, 0.46, 2.72)
R(sky130_fd_sc_hd__and2_2, met1_pin, [(0.145,-0.085,0.315,0.085), (0.145,2.635,0.315,2.805)])
R(sky130_fd_sc_hd__and2_2, hvtp, [(0,1.25,2.76,2.72)])
R(sky130_fd_sc_hd__and2_2, stdcell_id, [(0,0,2.76,2.72)])
R(sky130_fd_sc_hd__and2_2, nsdm, [(0,-0.19,2.76,1.015)])
R(sky130_fd_sc_hd__and2_2, psdm, [(0,1.355,2.76,2.91)])
R(sky130_fd_sc_hd__and2_2, npc, [(0,0.975,2.76,1.345)])
R(sky130_fd_sc_hd__and2_2, pwell_pin, [(0.145,-0.085,0.315,0.085)])
R(sky130_fd_sc_hd__and2_2, boundary2, [(0,0,2.76,2.72)])
sky130_fd_sc_hd__and2_2.add(gdstk.FlexPath([(0,0),(2.76,0)], 0.48, ends="flush", simple_path=True, layer=68, datatype=20))  # met1
sky130_fd_sc_hd__and2_2.add(gdstk.FlexPath([(0,2.72),(2.76,2.72)], 0.48, ends="flush", simple_path=True, layer=68, datatype=20))  # met1
sky130_fd_sc_hd__and2_2.add(gdstk.Label('VPWR', (0.23,2.72), layer=68, texttype=5))
sky130_fd_sc_hd__and2_2.add(gdstk.Label('VGND', (0.23,0), layer=68, texttype=5))
sky130_fd_sc_hd__and2_2.add(gdstk.Label('A', (0.69,1.19), layer=67, texttype=5))
sky130_fd_sc_hd__and2_2.add(gdstk.Label('X', (2.07,0.85), layer=67, texttype=5))
sky130_fd_sc_hd__and2_2.add(gdstk.Label('A', (0.23,1.19), layer=67, texttype=5))
sky130_fd_sc_hd__and2_2.add(gdstk.Label('X', (2.07,0.51), layer=67, texttype=5))
sky130_fd_sc_hd__and2_2.add(gdstk.Label('X', (2.07,1.19), layer=67, texttype=5))
sky130_fd_sc_hd__and2_2.add(gdstk.Label('X', (2.07,1.53), layer=67, texttype=5))
sky130_fd_sc_hd__and2_2.add(gdstk.Label('X', (2.07,1.87), layer=67, texttype=5))
sky130_fd_sc_hd__and2_2.add(gdstk.Label('X', (2.07,2.21), layer=67, texttype=5))
sky130_fd_sc_hd__and2_2.add(gdstk.Label('B', (1.15,1.19), layer=67, texttype=5))
sky130_fd_sc_hd__and2_2.add(gdstk.Label('VPB', (0.23,2.72), layer=64, texttype=5))
sky130_fd_sc_hd__and2_2.add(gdstk.Label('VNB', (0.23,0), layer=64, texttype=59))
sky130_fd_sc_hd__and2_2.add(gdstk.Label('and2_2', (0,0), layer=83, texttype=44))

pfd = lib.new_cell('pfd')
R(pfd, nwell, [(18.37,-7.17,19.29,-5.58), (11.88,-3.51,14.16,-1.86), (17.13,-3.48,18.16,-1.85), (18.52,0.22,19.54,1.64), (18.36,1.64,19.54,1.87), (18.52,1.87,19.54,1.92)])
R(pfd, tap, [(18.52,-8.5,19.17,-7.39), (18.46,-6.49,18.89,-6.46), (18.45,-6.46,18.89,-5.76), (17.17,-4.41,18.04,-3.93), (17.5,-2.95,17.93,-2.92), (17.49,-2.92,17.93,-2.22), (18.47,-0.74,19.47,-0.09), (18.55,0.96,18.98,0.99), (18.54,0.99,18.98,1.69)])
A(pfd, licon, 18.59, -8.37, 0.17, 0.17, 1, 3, 0, 0.34)
A(pfd, licon, 18.93, -8.37, 0.17, 0.17, 1, 3, 0, 0.34)
R(pfd, licon, [(18.595,-6.215,18.765,-6.045), (17.35,-4.255,17.52,-4.085), (17.69,-4.255,17.86,-4.085), (17.635,-2.675,17.805,-2.505), (18.715,-0.67,18.885,-0.5), (19.055,-0.67,19.225,-0.5), (18.715,-0.33,18.885,-0.16), (19.055,-0.33,19.225,-0.16), (18.685,1.235,18.855,1.405)])
R(pfd, li1, [(18.5,-8.52,19.18,-7.61), (18.52,-7.61,19.17,-7.43), (3.56,-7.54,4.39,-7.51), (3.56,-7.51,7.35,-6.87), (16.33,-7.47,16.62,-6.83), (3.56,-6.87,4.39,-6.86), (18.595,-6.47,18.765,-5.89), (8.52,-6.13,8.83,-5.84), (18.37,-5.89,18.77,-5.86), (17.74,-5.86,18.78,-5.67), (17.19,-4.43,18.03,-3.88), (8.53,-3.95,9.26,-3.9), (8.53,-3.9,9.91,-3.31), (13.24,-3.77,14.08,-3.76), (11.41,-3.76,14.08,-3.73), (20.39,-3.75,21.44,-3.69), (11.41,-3.73,14.18,-3.72), (14.82,-3.73,15.06,-3.72), (11.41,-3.72,15.06,-3.51), (15.71,-3.7,16.05,-3.39), (16.69,-3.69,21.44,-3.13), (13.24,-3.51,15.06,-3.46), (13.24,-3.46,14.08,-3.45), (8.53,-3.31,9.26,-3.28), (20.39,-3.13,21.44,-2.86), (17.635,-2.93,17.805,-2.35), (17.42,-2.35,17.81,-2.18), (17.42,-2.18,17.79,-2.15), (16.47,-2.15,17.79,-1.94), (18.51,-0.74,19.43,-0.73), (18.49,-0.73,19.43,-0.24), (18.51,-0.24,19.43,-0.09), (3.76,-0.09,4.71,-0.08), (3.76,-0.08,7.8,0.52), (16.56,0.04,16.88,0.61), (4.45,0.52,7.8,0.53), (18.685,0.98,18.855,1.56), (8.75,1.28,9.07,1.56), (18.29,1.56,18.86,1.73)])
A(pfd, mcon, 18.575, -8.51, 0.17, 0.17, 1, 3, 0, 0.36)
A(pfd, mcon, 18.935, -8.51, 0.17, 0.17, 1, 3, 0, 0.36)
A(pfd, mcon, 20.47, -3.75, 0.17, 0.17, 3, 3, 0.36, 0.36)
A(pfd, mcon, 18.51, -0.57, 0.17, 0.17, 3, 1, 0.36, 0)
A(pfd, mcon, 3.79, -0.05, 0.17, 0.17, 3, 2, 0.36, 0.36)
R(pfd, mcon, [(3.71,-7.465,3.88,-7.295), (4.07,-7.465,4.24,-7.295), (16.39,-7.415,16.56,-7.245), (3.71,-7.105,3.88,-6.935), (4.07,-7.105,4.24,-6.935), (16.39,-7.055,16.56,-6.885), (17.345,-4.42,17.515,-4.25), (17.705,-4.42,17.875,-4.25), (17.345,-4.06,17.515,-3.89), (17.705,-4.06,17.875,-3.89), (8.63,-3.88,8.8,-3.71), (8.99,-3.88,9.16,-3.71), (13.395,-3.695,13.565,-3.525), (13.755,-3.695,13.925,-3.525), (15.795,-3.63,15.965,-3.46), (8.63,-3.52,8.8,-3.35), (8.99,-3.52,9.16,-3.35), (16.635,0.06,16.805,0.23), (16.635,0.42,16.805,0.59)])
R(pfd, met1_pin, [(18.67,-9.7,19.67,-8.7), (3.28,-7.65,4.28,-6.65), (20.62,-7.54,21.62,-6.54), (3.48,-0.23,4.48,0.77), (20.27,-0.19,21.27,0.81), (5.8,1.97,6.8,2.97)])
R(pfd, met1, [(18.51,-9.84,19.84,-8.73), (18.14,-8.73,19.84,-8.24), (18.47,-8.24,19.84,-7.55), (12.51,-7.83,13.06,-7.56), (3.28,-7.65,4.28,-7.57), (3.28,-7.57,4.45,-6.83), (18.51,-7.55,19.84,-5.08), (20.62,-7.54,21.62,-7.51), (16.3,-7.53,16.65,-7.46), (20.07,-7.51,21.62,-6.76), (16.3,-7.46,18.33,-6.83), (3.28,-6.83,4.28,-6.65), (16.3,-6.83,16.65,-6.77), (20.47,-6.76,21.62,-6.68), (20.62,-6.68,21.62,-6.54), (5.66,-6.04,6.87,-6), (18.05,-6.01,18.2,-5.51), (5.66,-6,7.37,-5.53), (5.66,-5.53,6.87,-2.44), (11.77,-5.08,19.84,-4.54), (14.665,-4.54,15.035,-4.53), (16.97,-4.54,19.84,-3.79), (8.47,-3.98,9.32,-3.25), (13.18,-3.8,14.14,-3.77), (18.05,-3.79,19.84,-3.76), (15.61,-3.78,16.05,-3.73), (20.33,-3.78,21.5,-2.83), (13.17,-3.77,14.14,-3.49), (18.51,-3.76,19.84,-1.32), (15.61,-3.73,16.11,-3.44), (13.18,-3.49,14.14,-3.42), (15.65,-3.44,16.11,-3.36), (20.38,-2.83,21.18,-0.19), (5.61,-2.44,6.87,-2.37), (5.61,-2.37,9.59,-2.35), (5.61,-2.35,10.63,-1.87), (11.65,-2.34,14.45,-1.8), (5.61,-1.87,6.87,-1.7), (9.54,-1.87,10.63,-1.86), (5.66,-1.7,6.87,1.4), (18.22,-1.32,19.84,-0.83), (18.29,-0.83,19.83,-0.21), (12.105,-0.47,12.665,-0.14), (3.48,-0.23,4.48,-0.12), (20.27,-0.19,21.27,0.02), (3.48,-0.12,4.77,0.55), (16.53,-0.02,16.91,0.02), (16.53,0.02,21.27,0.66), (3.48,0.55,4.48,0.77), (16.53,0.66,16.91,0.67), (20.27,0.66,21.27,0.81), (5.66,1.4,7.67,1.89), (5.66,1.89,6.87,3.04)])
A(pfd, via, 5.835, -2.305, 0.15, 0.15, 3, 2, 0.32, 0.32)
A(pfd, via, 9.69, -2.18, 0.15, 0.15, 3, 1, 0.32, 0)
R(pfd, via, [(12.71,-7.77,12.86,-7.62), (17.965,-7.385,18.115,-7.235), (20.23,-7.37,20.38,-7.22), (17.965,-7.065,18.115,-6.915), (20.23,-7.05,20.38,-6.9), (8.66,-3.85,8.81,-3.7), (8.98,-3.85,9.13,-3.7), (15.755,-3.685,15.905,-3.535), (8.66,-3.53,8.81,-3.38), (8.98,-3.53,9.13,-3.38), (12.31,-0.38,12.46,-0.23)])
R(pfd, met2, [(12.56,-7.88,13.01,-7.51), (20.12,-7.56,20.49,-7.48), (12.57,-7.51,13.01,-5.5), (17.81,-7.51,18.27,-7.48), (17.81,-7.48,20.49,-6.81), (17.81,-6.81,18.27,-6.79), (20.12,-6.81,20.49,-6.71), (17.84,-6.79,18.24,-5.46), (8.51,-5.5,13.01,-5.17), (15.63,-5.46,18.24,-5.23), (15.63,-5.23,16.01,-3.45), (8.52,-5.17,9.2,-4), (8.52,-4,9.26,-3.23), (15.66,-3.45,16,-3.39), (8.52,-3.23,9.24,-3.07), (8.53,-3.07,9.24,-1.66), (5.66,-2.49,6.8,-1.65), (9.59,-2.4,10.58,-1.81), (8.53,-1.66,12.61,-1.32), (8.53,-1.32,9.24,-1.31), (12.145,-1.32,12.605,-0.52), (12.145,-0.52,12.615,-0.14), (12.155,-0.14,12.615,-0.09)])
R(pfd, nsdm, [(18.335,-6.615,19.015,-6.585), (18.325,-6.585,19.015,-5.635), (17.375,-3.075,18.055,-3.045), (17.365,-3.045,18.055,-2.095), (18.425,0.835,19.105,0.865), (18.415,0.865,19.105,1.815)])
R(pfd, psdm, [(18.395,-8.625,19.295,-7.645), (18.085,-7.645,19.295,-7.48), (18.05,-7.48,19.295,-7.265), (18.05,-7.265,18.43,-7.13), (18.085,-7.13,18.43,-6.75), (17.045,-4.535,18.165,-3.805), (18.345,-0.865,19.595,-0.035), (17.94,-0.035,19.595,0.035), (17.94,0.035,18.72,0.28), (18.315,0.28,18.72,0.35)])
pfd.add(gdstk.Reference(sky130_fd_sc_hd__inv_4, (11.86,-4.83), rotation=pi, x_reflection=True))
pfd.add(gdstk.Reference(sky130_fd_sc_hd__dfrbp_2, (7.16,-8.49)))
pfd.add(gdstk.Reference(sky130_fd_sc_hd__and2_2, (17.03,-4.78), rotation=pi, x_reflection=True))
pfd.add(gdstk.Reference(sky130_fd_sc_hd__dfrbp_2, (7.39,-1.08)))
pfd.add(gdstk.Label('VSS', (19.17,-9.2), layer=68, texttype=5))
pfd.add(gdstk.Label('VDD', (6.3,2.47), layer=68, texttype=5))
pfd.add(gdstk.Label('A', (3.98,0.27), layer=68, texttype=5))
pfd.add(gdstk.Label('QA', (20.77,0.31), layer=68, texttype=5))
pfd.add(gdstk.Label('QB', (21.12,-7.04), layer=68, texttype=5))
pfd.add(gdstk.Label('B', (3.78,-7.15), layer=68, texttype=5))

lib.write_gds('pfd.gds')
